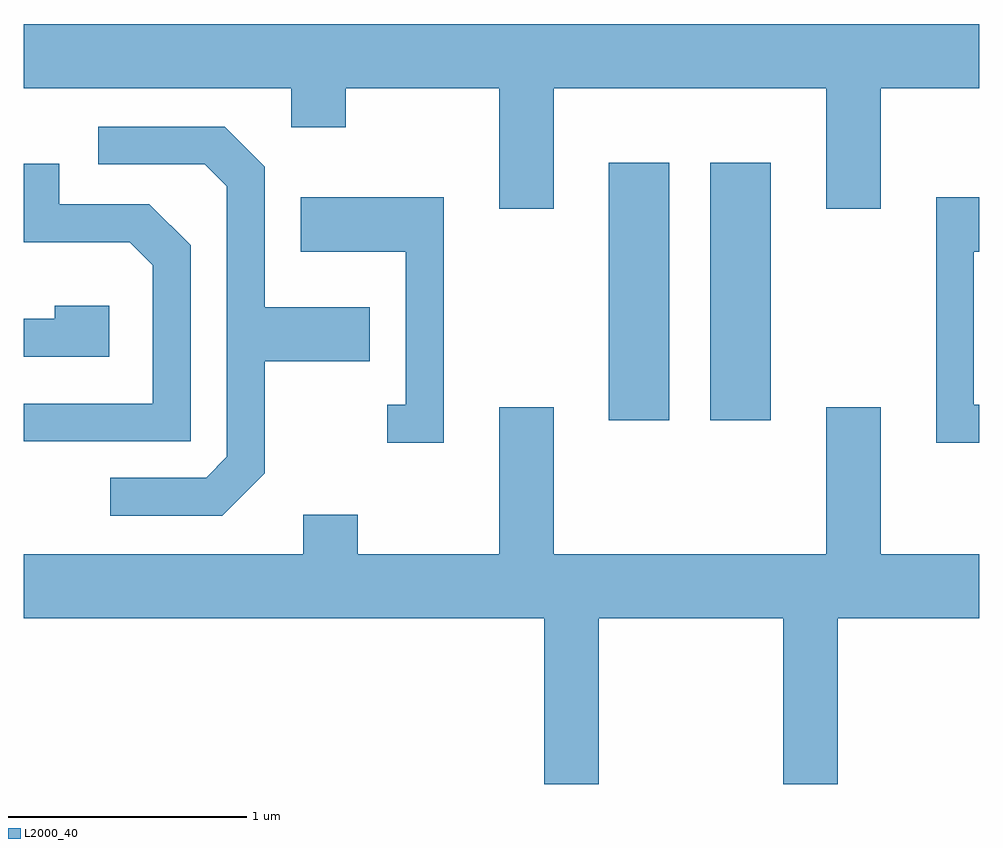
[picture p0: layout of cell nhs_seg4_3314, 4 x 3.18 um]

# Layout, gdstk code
import gdstk
lib = gdstk.Library(unit=1e-6, precision=1e-09)
def R(c, l, rs):  # rectangles x0, y0, x1, y1
    for r in rs: c.add(gdstk.rectangle(r[:2], r[2:], *l))
def P(c, l, *ps):  # polygons
    for p in ps: c.add(gdstk.Polygon(p, *l))
L2000_40 = (2000, 40)

nhs_seg4_3314 = lib.new_cell('nhs_seg4_3314')
R(nhs_seg4_3314, L2000_40, [(284.061,1355.506,284.314,1356.584), (284.486,1355.506,284.739,1356.584)])
P(nhs_seg4_3314, L2000_40, [(283.829,1356.896),(284.971,1356.896),(284.971,1356.391),(285.199,1356.391),(285.199,1356.896),(285.611,1356.896),(285.611,1357.164),(281.611,1357.164),(281.611,1356.896),(282.731,1356.896),(282.731,1356.731),(282.959,1356.731),(282.959,1356.896),(283.601,1356.896),(283.601,1356.391),(283.829,1356.391)],
  [(282.619,1355.284),(282.619,1355.751),(283.059,1355.751),(283.059,1355.979),(282.619,1355.979),(282.619,1356.567),(282.452,1356.734),(281.923,1356.734),(281.923,1356.576),(282.369,1356.576),(282.461,1356.484),(282.461,1355.352),(282.374,1355.264),(281.973,1355.264),(281.973,1355.106),(282.442,1355.106)],
  [(282.309,1356.237),(282.137,1356.409),(281.759,1356.409),(281.759,1356.579),(281.611,1356.579),(281.611,1356.251),(282.054,1356.251),(282.151,1356.154),(282.151,1355.574),(281.611,1355.574),(281.611,1355.416),(282.309,1355.416)],
  [(285.611,1355.569),(285.589,1355.569),(285.589,1356.211),(285.611,1356.211),(285.611,1356.439),(285.431,1356.439),(285.431,1355.411),(285.611,1355.411)],
  [(283.369,1356.439),(282.771,1356.439),(282.771,1356.211),(283.211,1356.211),(283.211,1355.569),(283.133,1355.569),(283.133,1355.411),(283.369,1355.411)],
  [(281.969,1355.984),(281.741,1355.984),(281.741,1355.929),(281.611,1355.929),(281.611,1355.771),(281.969,1355.771)],
  [(284.019,1354.676),(284.791,1354.676),(284.791,1353.982),(285.019,1353.982),(285.019,1354.676),(285.611,1354.676),(285.611,1354.944),(285.199,1354.944),(285.199,1355.559),(284.971,1355.559),(284.971,1354.944),(283.829,1354.944),(283.829,1355.559),(283.601,1355.559),(283.601,1354.944),(283.009,1354.944),(283.009,1355.109),(282.781,1355.109),(282.781,1354.944),(281.611,1354.944),(281.611,1354.676),(283.791,1354.676),(283.791,1353.982),(284.019,1353.982)])

lib.write_gds('nhs_seg4_3314.gds')
